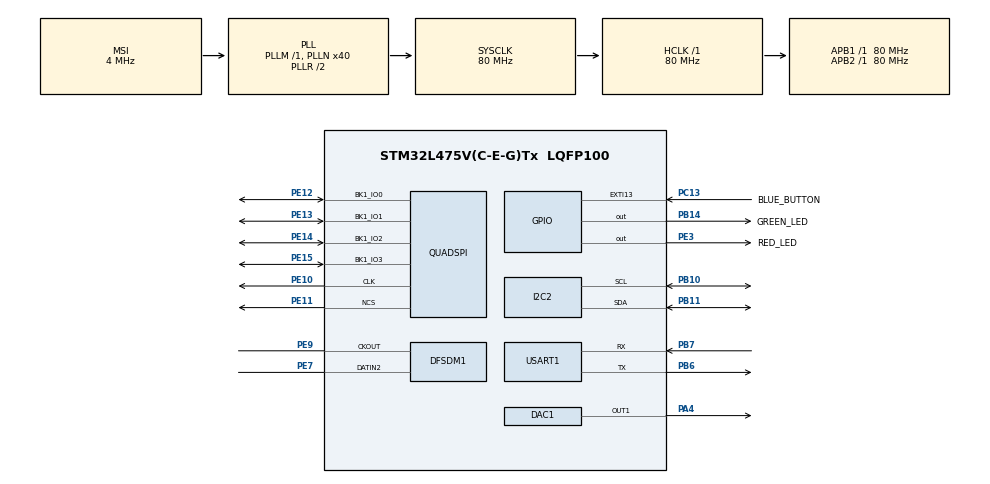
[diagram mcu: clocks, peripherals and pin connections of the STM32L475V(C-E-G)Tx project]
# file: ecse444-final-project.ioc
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Mcu.Family=STM32L4
Dma.DFSDM1_FLT0.1.Priority=DMA_PRIORITY_LOW
VP_SYS_VS_tim6.Mode=TIM6
RCC.CortexFreq_Value=80000000
PB10.Mode=I2C
NVIC.TIM6_DAC_IRQn=true\:0\:0\:false\:false\:true\:false\:true
PB14.GPIO_Label=GREEN_LED
I2C2.Timing=0x10909CEC
Dma.DFSDM1_FLT0.1.Direction=DMA_PERIPH_TO_MEMORY
PC13.GPIO_Label=BLUE_BUTTON
PB11.Signal=I2C2_SDA
RCC.SYSCLKSource=RCC_SYSCLKSOURCE_PLLCLK
ProjectManager.StackSize=0x400
PB3\ (JTDO-TRACESWO).Signal=SYS_JTDO-SWO
NVIC.DMA1_Channel3_IRQn=true\:0\:0\:false\:false\:true\:false\:true
PE11.Mode=Single Bank
Dma.DAC_CH1.0.Instance=DMA1_Channel3
RCC.HCLKFreq_Value=80000000
RCC.APB2TimFreq_Value=80000000
PB6.Signal=USART1_TX
PB6.Mode=Asynchronous
Dma.DFSDM1_FLT0.1.MemInc=DMA_MINC_ENABLE
RCC.AHBFreq_Value=80000000
NVIC.EXTI15_10_IRQn=true\:0\:0\:false\:false\:true\:true\:true
RCC.HSE_VALUE=8000000
Dma.DFSDM1_FLT0.1.MemDataAlignment=DMA_MDATAALIGN_WORD
DFSDM1.FastMode_reg_FIL0=ENABLE
PE13.Signal=QUADSPI_BK1_IO1
PE9.Signal=S_CKOUTDFSDM1
NVIC.TIM2_IRQn=true\:0\:0\:false\:false\:true\:true\:true
Dma.DAC_CH1.0.PeriphDataAlignment=DMA_PDATAALIGN_BYTE
PB7.Signal=USART1_RX
PE13.Mode=Single Bank
DFSDM1.Fosr_FIL0=250
PE10.Signal=QUADSPI_CLK
Mcu.Package=LQFP100
TIM2.Prescaler=0
NVIC.TimeBase=TIM6_DAC_IRQn
NVIC.TimeBaseIP=TIM6
Dma.DAC_CH1.0.Priority=DMA_PRIORITY_LOW
TIM2.TIM_MasterOutputTrigger=TIM_TRGO_UPDATE
Dma.Request1=DFSDM1_FLT0
RCC.APB1TimFreq_Value=80000000
NVIC.DMA1_Channel4_IRQn=true\:0\:0\:false\:false\:true\:false\:true
PE7.Signal=S_DATAIN2DFSDM1
PA13\ (JTMS-SWDIO).Signal=SYS_JTMS-SWDIO
Dma.Request0=DAC_CH1
DFSDM1.SincOrder_FIL0=DFSDM_FILTER_SINC3_ORDER
RCC.PLLSAI1N=24
PE12.Mode=Single Bank
RCC.MSI_VALUE=4000000
Dma.DAC_CH1.0.Mode=DMA_NORMAL
Dma.DAC_CH1.0.MemDataAlignment=DMA_MDATAALIGN_WORD
PC13.Signal=GPXTI13
PE10.Mode=Single Bank
SH.S_DATAIN2DFSDM1.0=DFSDM1_DATIN2,PDM_SPI_input_from_ch2_and_internal_clock
Dma.DFSDM1_FLT0.1.PeriphInc=DMA_PINC_DISABLE
USART1.VirtualMode-Asynchronous=VM_ASYNC
Dma.DAC_CH1.0.Direction=DMA_MEMORY_TO_PERIPH
PB11.Mode=I2C
ProjectManager.TargetToolchain=STM32CubeIDE
SH.COMP_DAC11_group.0=DAC1_OUT1,DAC_OUT1
Dma.DFSDM1_FLT0.1.Mode=DMA_NORMAL
Dma.DAC_CH1.0.MemInc=DMA_MINC_ENABLE
RCC.USBFreq_Value=48000000
PE11.Signal=QUADSPI_NCS
RCC.LSE_VALUE=32768
PB10.Signal=I2C2_SCL
PB14.Signal=GPIO_Output
board=B-L475E-IOT01A1
RCC.VCOOutputFreq_Value=160000000
RCC.APB2Freq_Value=80000000
PE14.Signal=QUADSPI_BK1_IO2
PE15.Signal=QUADSPI_BK1_IO3
VP_TIM2_VS_ClockSourceINT.Mode=Internal
PE14.Mode=Single Bank
SH.S_CKOUTDFSDM1.0=DFSDM1_CKOUT,PDM_SPI_input_from_ch2_and_internal_clock
SH.S_CKOUTDFSDM1.1=DFSDM1_CKOUT,CKOUT
RCC.ADCFreq_Value=48000000
Dma.DFSDM1_FLT0.1.Instance=DMA1_Channel4
DAC1.DAC_Trigger-DAC_OUT1=DAC_TRIGGER_T2_TRGO
TIM2.Period=8500
Mcu.Name=STM32L475V(C-E-G)Tx
PE12.Signal=QUADSPI_BK1_IO0
Dma.DAC_CH1.0.PeriphInc=DMA_PINC_DISABLE
PA4.Signal=COMP_DAC11_group
RCC.SYSCLKFreq_VALUE=80000000
Dma.DFSDM1_FLT0.1.PeriphDataAlignment=DMA_PDATAALIGN_WORD
PB7.Mode=Asynchronous
ProjectManager.HeapSize=0x200
RCC.HSI_VALUE=16000000
NVIC.PriorityGroup=NVIC_PRIORITYGROUP_4
DFSDM1.DmaMode_reg_FIL0=ENABLE
RCC.PLLN=40
PE3.Signal=GPIO_Output
DFSDM1.Divider=34
PE3.GPIO_Label=RED_LED
DFSDM1.Filter_regChannel_FIL0=DFSDM_CHANNEL_2
RCC.APB1Freq_Value=80000000
PE15.Mode=Single Bank

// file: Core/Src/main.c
/* USER CODE BEGIN Header */
/**
 ******************************************************************************
 * @file           : main.c
 * @brief          : Main program body
 ******************************************************************************
 * @attention
 *
 * <h2><center>&copy; Copyright (c) 2020 STMicroelectronics.
 * All rights reserved.</center></h2>
 *
 * This software component is licensed by ST under Ultimate Liberty license
 * SLA0044, the "License"; You may not use this file except in compliance with
 * the License. You may obtain a copy of the License at:
 *                             www.st.com/SLA0044
 *
 ******************************************************************************
 */
/* USER CODE END Header */
#include "main.h"

/* USER CODE BEGIN Includes */
#include "arm_math.h"
#include <stdio.h>
#include <stdlib.h>
#include <limits.h>
#include <string.h>
#include "stm32l475e_iot01_qspi.h"
/* USER CODE END Includes */

DAC_HandleTypeDef hdac1;
DMA_HandleTypeDef hdma_dac_ch1;

DFSDM_Filter_HandleTypeDef hdfsdm1_filter0;
DFSDM_Channel_HandleTypeDef hdfsdm1_channel2;
DMA_HandleTypeDef hdma_dfsdm1_flt0;

I2C_HandleTypeDef hi2c2;

QSPI_HandleTypeDef hqspi;

TIM_HandleTypeDef htim2;

UART_HandleTypeDef huart1;

/* USER CODE BEGIN PV */
//Constants & Variables associated with tone generation-------
const int MAX_TONE_AMPLITUDE = 255;
const float OUTPUT_SAMPLE_RATE = 9400.0;
const float TAU = 6.2831853072;
const int TONE_FREQUENCIES[] = {524, 659, 784, 1047};
const int BLOCK_SIZE = 65536;
int REC_START;
const int NUM_TONES = 4;
const int TONE_LEN = 8192;
uint32_t currentTone[8192];

//Variables for sequencing tone------------------------------
const int MAX_TONE_SEQUENCE_LENGTH = 100;
int toneSequence[100];
int toneSequenceSize = 0;
int toneIndex = 0;

//Variables for processing tones------------------------------
arm_rfft_instance_q31 fftInstance;
uint32_t fftOutputBuffer[8192];
const int WINDOW_SIZE = 50;
const int MIN_FREQ = 150;
const int MAX_FREQ = 3000;

//Constants & Variables for High Scores
int HIGH_SCORE_START;
const int MAX_SCORES = 1000;
const int FORMAT_START = 0xA0FA0FEE;

//Flags for state --------------------------------------------
enum GAME_STATE {
	READY_TO_PLAY_TONE = 0,
	PLAYING_TONE,
	READY_TO_RECORD,
	RECORDING,
	START_GAME
};

enum GAME_STATE gameState = START_GAME;

//Other constants --------------------------------------------
const int UART_TIMEOUT_MS = 100;
const int UART_RETRIES = 3;

/* USER CODE END PV */

void SystemClock_Config(void);
static void MX_GPIO_Init(void);
static void MX_DMA_Init(void);
static void MX_TIM2_Init(void);
static void MX_I2C2_Init(void);
static void MX_USART1_UART_Init(void);
static void MX_DAC1_Init(void);
static void MX_QUADSPI_Init(void);
static void MX_DFSDM1_Init(void);
/* USER CODE BEGIN PFP */

/// Adds an additional tone to the sequence to be played and expected from user
void addToneToSequence();

/// Starts audio output of tone sequence
void playSequence();

/// Get tone from flash of specified frequency index to currentTone buffer
///
/// @param frequency_index Index of frequency to retrieve from QSPI flash memory
void loadToneFromFlash(int frequency_index);

/// Starts microphone recording DMA
void startRecording();

/// Determine frequency of specific note
///
/// @param noteIndex Index of the note that frequency should be analyzed of
/// @return Frequency of user tone
int analyzeNote(int noteIndex);

/// Checks that the user tone sequence is correct
///
/// @return 0 if answer false, any other uint8_t if true
uint8_t checkAnswer();

/// Prints score and restarts game loop
void lose();

/// Transmits all scores through UART
 void printScoreToUart();

 /// Transmits message to UART to be displayed on screen of connected device
 ///
 /// @param buffer Pointer to null-terminated string to be sent through UART
 void transmitToUart(char * buffer);

 // Receives message from UART
 //
 // @param buffer Pointer to memory to write to
 // @param size Number of bytes to read
 // @return Bytes read if successful, -1 otherwise
 int receiveFromUart(char * buffer, uint16_t size);

 /// Loads scores from Flash Memory
 ///
 /// @param scores Pointer to where to copy scores
 /// @return Integer representing number of scores stored in Flash
 int loadScoresFromMemory(int * scores);

 /// Stores score in Flash Memory
 ///
 /// @param initials Character buffer with 2 characters
 /// @param score Score to store in memory
 void storeScoreInMemory(char * initials, int score);

 /// Formats the Flash Memory for store
 /// Note: Should only use to reset system
 void formatScoreMemory();

 /// Clears all scores in Flash Memory
 void clearScoresInMemory();

 /* USER CODE END PFP */

int main(void)
{

  /* MCU Configuration--------------------------------------------------------*/

  /* Reset of all peripherals, Initializes the Flash interface and the Systick. */
  HAL_Init();

  /* Configure the system clock */
  SystemClock_Config();

  /* Initialize all configured peripherals */
  MX_GPIO_Init();
  MX_DMA_Init();
  MX_TIM2_Init();
  MX_I2C2_Init();
  MX_USART1_UART_Init();
  MX_DAC1_Init();
  MX_QUADSPI_Init();
  MX_DFSDM1_Init();
  /* USER CODE BEGIN 2 */
    HAL_UART_Init(&huart1);
	HAL_TIM_Base_Start(&htim2);
	BSP_QSPI_Init();
	HAL_GPIO_WritePin(RED_LED_GPIO_Port, RED_LED_Pin, GPIO_PIN_SET);

	//erase flash except high scores
	int numBlocks = (int)(NUM_TONES*sizeof(currentTone)/(float)BLOCK_SIZE + 1);
	for (int i = 0; i < numBlocks; i++) {
		if (BSP_QSPI_Erase_Block(BLOCK_SIZE*i) != QSPI_OK) {
			Error_Handler();
		}
	}

	REC_START = BLOCK_SIZE * (numBlocks + 1);
	HIGH_SCORE_START = REC_START + BLOCK_SIZE * (numBlocks + 1);

	//format high score memory if necessary
	int check_format = 0;
	if (BSP_QSPI_Read(&check_format, HIGH_SCORE_START, sizeof(check_format)) != QSPI_OK) {
		Error_Handler();
	}

	// if constant start byte not there, we know we must format
	if(check_format != FORMAT_START)
	{
		formatScoreMemory();
	}

	//program flash
	for (int i = NUM_TONES-1; i >= 0; i--) {
		//calculate a single tone
		float w = TAU * TONE_FREQUENCIES[i];
		for (int j = 0; j < TONE_LEN; j++) {
			float theta = w * j/OUTPUT_SAMPLE_RATE;
			float s = (1 + arm_sin_f32(theta)) / 2.0;

			currentTone[j] = (uint32_t) (0.9 * MAX_TONE_AMPLITUDE * s);
		}
		//write tone to flash
		if (BSP_QSPI_Write(currentTone, i * sizeof(currentTone), sizeof(currentTone)) != QSPI_OK) {
			Error_Handler();
		}
	}

  /* USER CODE END 2 */

  /* Infinite loop */
	while (1)
	{

	}
}

void SystemClock_Config(void)
{
  RCC_OscInitTypeDef RCC_OscInitStruct = {0};
  RCC_ClkInitTypeDef RCC_ClkInitStruct = {0};
  RCC_PeriphCLKInitTypeDef PeriphClkInit = {0};

  /** Initializes the RCC Oscillators according to the specified parameters
  * in the RCC_OscInitTypeDef structure.
  */
  RCC_OscInitStruct.OscillatorType = RCC_OSCILLATORTYPE_MSI;
  RCC_OscInitStruct.MSIState = RCC_MSI_ON;
  RCC_OscInitStruct.MSICalibrationValue = 0;
  RCC_OscInitStruct.MSIClockRange = RCC_MSIRANGE_6;
  RCC_OscInitStruct.PLL.PLLState = RCC_PLL_ON;
  RCC_OscInitStruct.PLL.PLLSource = RCC_PLLSOURCE_MSI;
  RCC_OscInitStruct.PLL.PLLM = 1;
  RCC_OscInitStruct.PLL.PLLN = 40;
  RCC_OscInitStruct.PLL.PLLP = RCC_PLLP_DIV7;
  RCC_OscInitStruct.PLL.PLLQ = RCC_PLLQ_DIV2;
  RCC_OscInitStruct.PLL.PLLR = RCC_PLLR_DIV2;
  if (HAL_RCC_OscConfig(&RCC_OscInitStruct) != HAL_OK)
  {
    Error_Handler();
  }
  /** Initializes the CPU, AHB and APB buses clocks
  */
  RCC_ClkInitStruct.ClockType = RCC_CLOCKTYPE_HCLK|RCC_CLOCKTYPE_SYSCLK
                              |RCC_CLOCKTYPE_PCLK1|RCC_CLOCKTYPE_PCLK2;
  RCC_ClkInitStruct.SYSCLKSource = RCC_SYSCLKSOURCE_PLLCLK;
  RCC_ClkInitStruct.AHBCLKDivider = RCC_SYSCLK_DIV1;
  RCC_ClkInitStruct.APB1CLKDivider = RCC_HCLK_DIV1;
  RCC_ClkInitStruct.APB2CLKDivider = RCC_HCLK_DIV1;

  if (HAL_RCC_ClockConfig(&RCC_ClkInitStruct, FLASH_LATENCY_4) != HAL_OK)
  {
    Error_Handler();
  }
  PeriphClkInit.PeriphClockSelection = RCC_PERIPHCLK_USART1|RCC_PERIPHCLK_I2C2
                              |RCC_PERIPHCLK_DFSDM1;
  PeriphClkInit.Usart1ClockSelection = RCC_USART1CLKSOURCE_PCLK2;
  PeriphClkInit.I2c2ClockSelection = RCC_I2C2CLKSOURCE_PCLK1;
  PeriphClkInit.Dfsdm1ClockSelection = RCC_DFSDM1CLKSOURCE_PCLK;
  if (HAL_RCCEx_PeriphCLKConfig(&PeriphClkInit) != HAL_OK)
  {
    Error_Handler();
  }
  /** Configure the main internal regulator output voltage
  */
  if (HAL_PWREx_ControlVoltageScaling(PWR_REGULATOR_VOLTAGE_SCALE1) != HAL_OK)
  {
    Error_Handler();
  }
}

static void MX_DAC1_Init(void)
{

  DAC_ChannelConfTypeDef sConfig = {0};

  /** DAC Initialization
  */
  hdac1.Instance = DAC1;
  if (HAL_DAC_Init(&hdac1) != HAL_OK)
  {
    Error_Handler();
  }
  /** DAC channel OUT1 config
  */
  sConfig.DAC_SampleAndHold = DAC_SAMPLEANDHOLD_DISABLE;
  sConfig.DAC_Trigger = DAC_TRIGGER_T2_TRGO;
  sConfig.DAC_OutputBuffer = DAC_OUTPUTBUFFER_ENABLE;
  sConfig.DAC_ConnectOnChipPeripheral = DAC_CHIPCONNECT_DISABLE;
  sConfig.DAC_UserTrimming = DAC_TRIMMING_FACTORY;
  if (HAL_DAC_ConfigChannel(&hdac1, &sConfig, DAC_CHANNEL_1) != HAL_OK)
  {
    Error_Handler();
  }

}

static void MX_DFSDM1_Init(void)
{

  hdfsdm1_filter0.Instance = DFSDM1_Filter0;
  hdfsdm1_filter0.Init.RegularParam.Trigger = DFSDM_FILTER_SW_TRIGGER;
  hdfsdm1_filter0.Init.RegularParam.FastMode = ENABLE;
  hdfsdm1_filter0.Init.RegularParam.DmaMode = ENABLE;
  hdfsdm1_filter0.Init.FilterParam.SincOrder = DFSDM_FILTER_SINC3_ORDER;
  hdfsdm1_filter0.Init.FilterParam.Oversampling = 250;
  hdfsdm1_filter0.Init.FilterParam.IntOversampling = 1;
  if (HAL_DFSDM_FilterInit(&hdfsdm1_filter0) != HAL_OK)
  {
    Error_Handler();
  }
  hdfsdm1_channel2.Instance = DFSDM1_Channel2;
  hdfsdm1_channel2.Init.OutputClock.Activation = ENABLE;
  hdfsdm1_channel2.Init.OutputClock.Selection = DFSDM_CHANNEL_OUTPUT_CLOCK_SYSTEM;
  hdfsdm1_channel2.Init.OutputClock.Divider = 34;
  hdfsdm1_channel2.Init.Input.Multiplexer = DFSDM_CHANNEL_EXTERNAL_INPUTS;
  hdfsdm1_channel2.Init.Input.DataPacking = DFSDM_CHANNEL_STANDARD_MODE;
  hdfsdm1_channel2.Init.Input.Pins = DFSDM_CHANNEL_SAME_CHANNEL_PINS;
  hdfsdm1_channel2.Init.SerialInterface.Type = DFSDM_CHANNEL_SPI_RISING;
  hdfsdm1_channel2.Init.SerialInterface.SpiClock = DFSDM_CHANNEL_SPI_CLOCK_INTERNAL;
  hdfsdm1_channel2.Init.Awd.FilterOrder = DFSDM_CHANNEL_FASTSINC_ORDER;
  hdfsdm1_channel2.Init.Awd.Oversampling = 1;
  hdfsdm1_channel2.Init.Offset = 0;
  hdfsdm1_channel2.Init.RightBitShift = 0x00;
  if (HAL_DFSDM_ChannelInit(&hdfsdm1_channel2) != HAL_OK)
  {
    Error_Handler();
  }
  if (HAL_DFSDM_FilterConfigRegChannel(&hdfsdm1_filter0, DFSDM_CHANNEL_2, DFSDM_CONTINUOUS_CONV_ON) != HAL_OK)
  {
    Error_Handler();
  }

}

static void MX_I2C2_Init(void)
{

  hi2c2.Instance = I2C2;
  hi2c2.Init.Timing = 0x10909CEC;
  hi2c2.Init.OwnAddress1 = 0;
  hi2c2.Init.AddressingMode = I2C_ADDRESSINGMODE_7BIT;
  hi2c2.Init.DualAddressMode = I2C_DUALADDRESS_DISABLE;
  hi2c2.Init.OwnAddress2 = 0;
  hi2c2.Init.OwnAddress2Masks = I2C_OA2_NOMASK;
  hi2c2.Init.GeneralCallMode = I2C_GENERALCALL_DISABLE;
  hi2c2.Init.NoStretchMode = I2C_NOSTRETCH_DISABLE;
  if (HAL_I2C_Init(&hi2c2) != HAL_OK)
  {
    Error_Handler();
  }
  /** Configure Analogue filter
  */
  if (HAL_I2CEx_ConfigAnalogFilter(&hi2c2, I2C_ANALOGFILTER_ENABLE) != HAL_OK)
  {
    Error_Handler();
  }
  /** Configure Digital filter
  */
  if (HAL_I2CEx_ConfigDigitalFilter(&hi2c2, 0) != HAL_OK)
  {
    Error_Handler();
  }

}

static void MX_QUADSPI_Init(void)
{

  /* QUADSPI parameter configuration*/
  hqspi.Instance = QUADSPI;
  hqspi.Init.ClockPrescaler = 255;
  hqspi.Init.FifoThreshold = 1;
  hqspi.Init.SampleShifting = QSPI_SAMPLE_SHIFTING_NONE;
  hqspi.Init.FlashSize = 1;
  hqspi.Init.ChipSelectHighTime = QSPI_CS_HIGH_TIME_1_CYCLE;
  hqspi.Init.ClockMode = QSPI_CLOCK_MODE_0;
  if (HAL_QSPI_Init(&hqspi) != HAL_OK)
  {
    Error_Handler();
  }

}

static void MX_TIM2_Init(void)
{

  TIM_ClockConfigTypeDef sClockSourceConfig = {0};
  TIM_MasterConfigTypeDef sMasterConfig = {0};

  htim2.Instance = TIM2;
  htim2.Init.Prescaler = 0;
  htim2.Init.CounterMode = TIM_COUNTERMODE_UP;
  htim2.Init.Period = 8500;
  htim2.Init.ClockDivision = TIM_CLOCKDIVISION_DIV1;
  htim2.Init.AutoReloadPreload = TIM_AUTORELOAD_PRELOAD_DISABLE;
  if (HAL_TIM_Base_Init(&htim2) != HAL_OK)
  {
    Error_Handler();
  }
  sClockSourceConfig.ClockSource = TIM_CLOCKSOURCE_INTERNAL;
  if (HAL_TIM_ConfigClockSource(&htim2, &sClockSourceConfig) != HAL_OK)
  {
    Error_Handler();
  }
  sMasterConfig.MasterOutputTrigger = TIM_TRGO_UPDATE;
  sMasterConfig.MasterSlaveMode = TIM_MASTERSLAVEMODE_DISABLE;
  if (HAL_TIMEx_MasterConfigSynchronization(&htim2, &sMasterConfig) != HAL_OK)
  {
    Error_Handler();
  }

}

static void MX_USART1_UART_Init(void)
{

  huart1.Instance = USART1;
  huart1.Init.BaudRate = 9600;
  huart1.Init.WordLength = UART_WORDLENGTH_8B;
  huart1.Init.StopBits = UART_STOPBITS_1;
  huart1.Init.Parity = UART_PARITY_NONE;
  huart1.Init.Mode = UART_MODE_TX_RX;
  huart1.Init.HwFlowCtl = UART_HWCONTROL_NONE;
  huart1.Init.OverSampling = UART_OVERSAMPLING_16;
  huart1.Init.OneBitSampling = UART_ONE_BIT_SAMPLE_DISABLE;
  huart1.AdvancedInit.AdvFeatureInit = UART_ADVFEATURE_NO_INIT;
  if (HAL_UART_Init(&huart1) != HAL_OK)
  {
    Error_Handler();
  }

}

static void MX_DMA_Init(void)
{

  /* DMA controller clock enable */
  __HAL_RCC_DMA1_CLK_ENABLE();

  /* DMA interrupt init */
  /* DMA1_Channel3_IRQn interrupt configuration */
  HAL_NVIC_SetPriority(DMA1_Channel3_IRQn, 0, 0);
  HAL_NVIC_EnableIRQ(DMA1_Channel3_IRQn);
  /* DMA1_Channel4_IRQn interrupt configuration */
  HAL_NVIC_SetPriority(DMA1_Channel4_IRQn, 0, 0);
  HAL_NVIC_EnableIRQ(DMA1_Channel4_IRQn);

}

static void MX_GPIO_Init(void)
{
  GPIO_InitTypeDef GPIO_InitStruct = {0};

  /* GPIO Ports Clock Enable */
  __HAL_RCC_GPIOE_CLK_ENABLE();
  __HAL_RCC_GPIOC_CLK_ENABLE();
  __HAL_RCC_GPIOA_CLK_ENABLE();
  __HAL_RCC_GPIOB_CLK_ENABLE();

  /*Configure GPIO pin Output Level */
  HAL_GPIO_WritePin(RED_LED_GPIO_Port, RED_LED_Pin, GPIO_PIN_RESET);

  /*Configure GPIO pin Output Level */
  HAL_GPIO_WritePin(GREEN_LED_GPIO_Port, GREEN_LED_Pin, GPIO_PIN_RESET);

  /*Configure GPIO pin : RED_LED_Pin */
  GPIO_InitStruct.Pin = RED_LED_Pin;
  GPIO_InitStruct.Mode = GPIO_MODE_OUTPUT_PP;
  GPIO_InitStruct.Pull = GPIO_NOPULL;
  GPIO_InitStruct.Speed = GPIO_SPEED_FREQ_LOW;
  HAL_GPIO_Init(RED_LED_GPIO_Port, &GPIO_InitStruct);

  /*Configure GPIO pin : BLUE_BUTTON_Pin */
  GPIO_InitStruct.Pin = BLUE_BUTTON_Pin;
  GPIO_InitStruct.Mode = GPIO_MODE_IT_RISING;
  GPIO_InitStruct.Pull = GPIO_NOPULL;
  HAL_GPIO_Init(BLUE_BUTTON_GPIO_Port, &GPIO_InitStruct);

  /*Configure GPIO pin : GREEN_LED_Pin */
  GPIO_InitStruct.Pin = GREEN_LED_Pin;
  GPIO_InitStruct.Mode = GPIO_MODE_OUTPUT_PP;
  GPIO_InitStruct.Pull = GPIO_NOPULL;
  GPIO_InitStruct.Speed = GPIO_SPEED_FREQ_LOW;
  HAL_GPIO_Init(GREEN_LED_GPIO_Port, &GPIO_InitStruct);

  /* EXTI interrupt init*/
  HAL_NVIC_SetPriority(EXTI15_10_IRQn, 0, 0);
  HAL_NVIC_EnableIRQ(EXTI15_10_IRQn);

}

/* USER CODE BEGIN 4 */
void HAL_GPIO_EXTI_Callback(uint16_t GPIO_Pin) {
	if (GPIO_Pin != BLUE_BUTTON_Pin) {
		return;
	}
	if (gameState == READY_TO_PLAY_TONE || gameState == START_GAME) {
		if (gameState == START_GAME) {
			HAL_GPIO_WritePin(RED_LED_GPIO_Port, RED_LED_Pin, GPIO_PIN_SET);
			transmitToUart("   ______________ Starting New Game! ______________\n");
			transmitToUart("\n");
		}
		addToneToSequence();
		playSequence();
	} else if (gameState == READY_TO_RECORD) {
		startRecording();
	}
}

void addToneToSequence(void) {
	//If we exceed buffer size, pattern resets anew -- unlikely to matter
	if (toneSequenceSize == MAX_TONE_SEQUENCE_LENGTH) {
		toneSequenceSize = 0;
	}
	toneSequence[toneSequenceSize] = rand() % NUM_TONES;
	toneSequenceSize++;
}

void loadToneFromFlash(int frequency) {
	if (BSP_QSPI_Read(currentTone, sizeof(currentTone) * frequency, sizeof(currentTone)) != QSPI_OK) {
		Error_Handler();
	}
}

void printSequence() {

	transmitToUart("   Expected Sequence - ");
	for (int i = 0; i < toneSequenceSize; i++) {
		char buf[20];
		memset(buf, 0, sizeof(buf));
		if (i != toneSequenceSize - 1) {
			sprintf(buf, "%d, ", TONE_FREQUENCIES[toneSequence[i]]);
		} else {
			sprintf(buf, "%d\n", TONE_FREQUENCIES[toneSequence[i]]);
		}

		transmitToUart(buf);
	}

}

/*
 * non-blocking function that plays the sequence to the user
 */
void playSequence() {
	gameState = PLAYING_TONE;
	int numBlocks = (int)(toneSequenceSize*sizeof(currentTone)/(float)BLOCK_SIZE  + 1);

	// Erase all user recordings in flash
	for (int i = 0; i < numBlocks; i++) {
		if (BSP_QSPI_Erase_Block(REC_START + BLOCK_SIZE*i) != QSPI_OK) {
			Error_Handler();
		}
	}

	// Get tons from flash and start DMA
	toneIndex = 0;
	loadToneFromFlash(toneSequence[toneIndex]);
	HAL_DAC_Stop_DMA(&hdac1, DAC_CHANNEL_1);
	HAL_DAC_Start_DMA(&hdac1, DAC_CHANNEL_1, currentTone, TONE_LEN, DAC_ALIGN_8B_R);

	//Turn on LED to start
	HAL_GPIO_WritePin(GREEN_LED_GPIO_Port, GREEN_LED_Pin, GPIO_PIN_SET);
}

//DAC callback
void HAL_DAC_ConvCpltCallbackCh1(DAC_HandleTypeDef *hdac) {
	//toggles LED to help time
	HAL_GPIO_TogglePin(GREEN_LED_GPIO_Port, GREEN_LED_Pin);
	HAL_DAC_Stop_DMA(&hdac1, DAC_CHANNEL_1);

	toneIndex++;
	if (toneIndex >= toneSequenceSize) {
		//Turn off LED when done playing
		HAL_GPIO_WritePin(GREEN_LED_GPIO_Port, GREEN_LED_Pin, GPIO_PIN_RESET);
		gameState = READY_TO_RECORD;
	} else {
		loadToneFromFlash(toneSequence[toneIndex]);
		HAL_DAC_Start_DMA(&hdac1, DAC_CHANNEL_1, currentTone, TONE_LEN, DAC_ALIGN_8B_R);
	}
}

void startRecording() {
	toneIndex = 0;
	gameState = RECORDING;
	HAL_DFSDM_FilterRegularStart_DMA(&hdfsdm1_filter0, currentTone, TONE_LEN);

	//Turn on LED to start
	HAL_GPIO_WritePin(GREEN_LED_GPIO_Port, GREEN_LED_Pin, GPIO_PIN_SET);
}

void lose() {
	HAL_GPIO_WritePin(RED_LED_GPIO_Port, RED_LED_Pin, GPIO_PIN_RESET);
	transmitToUart("   _________________ GAME OVER! ___________________ \n");
	transmitToUart("\n");
	transmitToUart("\n");
	char buf[50];
	memset(buf, 0, sizeof(buf));
	sprintf(buf, "   __Your Score is %d Points\n", toneSequenceSize);
	transmitToUart(buf);
	transmitToUart("\n");
	transmitToUart("   ___Enter Initials:\n");

	//Ensure all characters transmitted
	char initials[2];
	receiveFromUart(initials, sizeof(initials));

	storeScoreInMemory(initials, toneSequenceSize);
	printScoreToUart();

	gameState = START_GAME;
	toneSequenceSize = 0;
	toneIndex = 0;
}

// callback for microphone
void HAL_DFSDM_FilterRegConvCpltCallback (DFSDM_Filter_HandleTypeDef * hdfsdm_filter) {
	// check to make sure correct callback
	if(hdfsdm_filter == &hdfsdm1_filter0) {
		HAL_DFSDM_FilterRegularStop_DMA(hdfsdm_filter);

		// scale 24 bits by removing 8 least sig bits
		for(size_t i = 0; i < TONE_LEN; i++) {
			currentTone[i] = (currentTone[i] >> 8);
		}

		//write microphone to flash
		if(BSP_QSPI_Write(currentTone, sizeof(currentTone) * toneIndex + REC_START, sizeof(currentTone)) != QSPI_OK) {
			Error_Handler();
		}

		//check if end of user recording
		if(++toneIndex < toneSequenceSize) {
			HAL_GPIO_TogglePin(GREEN_LED_GPIO_Port, GREEN_LED_Pin);
			HAL_DFSDM_FilterRegularStart_DMA(&hdfsdm1_filter0, currentTone, TONE_LEN);
		} else {
			if (checkAnswer()) {
				gameState = READY_TO_PLAY_TONE;
			} else {
				lose();
			}
			HAL_GPIO_WritePin(GREEN_LED_GPIO_Port, GREEN_LED_Pin, GPIO_PIN_RESET);
		}
	}
}

int analyzeNote(int noteIndex) {
	//Load note from flash
	if (BSP_QSPI_Read(currentTone, REC_START + noteIndex*sizeof(currentTone), sizeof(currentTone)) != QSPI_OK) {
		Error_Handler();
	}

	//Initialize FFT instance
	if (arm_rfft_init_q31(&fftInstance, TONE_LEN/2, 0, 1) != ARM_MATH_SUCCESS) {
		Error_Handler();
	}

	//Call FFT (assumes currentTone buffer already formatted in q31 format)
	arm_rfft_q31(&fftInstance, &currentTone[TONE_LEN/4], fftOutputBuffer);

	//Find magnitude values
	arm_cmplx_mag_q31(fftOutputBuffer, currentTone, TONE_LEN/2);

	const float DELTA_F = OUTPUT_SAMPLE_RATE / (TONE_LEN / 2);
	int maxCenterFreq = MIN_FREQ;
	int maxWindowSum = 0;
	unsigned long currentSum = 0;
	for (int i = 0; i < TONE_LEN / 2; i++) {
		if (i - WINDOW_SIZE/2 >= 0) {
			currentSum -= currentTone[i - WINDOW_SIZE/2];
		}
		if (i + WINDOW_SIZE/2 < TONE_LEN / 2) {
			currentSum += currentTone[i + WINDOW_SIZE / 2];
		}
		if (currentSum > maxWindowSum && i*DELTA_F > MIN_FREQ && i*DELTA_F < MAX_FREQ) {
			maxWindowSum = currentSum;
			maxCenterFreq = (int)(i * DELTA_F) ;
		}

	}
	return maxCenterFreq;
}

uint8_t checkAnswer() {
       int maxValues[NUM_TONES];
       int minValues[NUM_TONES];
       uint8_t includedTones = 0x0;
       for (int i = 0; i < NUM_TONES; i++) {
		   maxValues[i] = 0;
		   minValues[i] = INT_MAX;
       }

       printSequence();

       transmitToUart("   User Inputed Frequencies - ");

       for (int i = 0; i < toneSequenceSize; i++) {
		   int tone = toneSequence[i];
		   int freq = analyzeNote(i);

		   char buf[20];
		   memset(buf, 0, sizeof(buf));
		   if (i != toneSequenceSize - 1) {
			   sprintf(buf, "%d, ", freq);
		   } else {
			   sprintf(buf, "%d\n", freq);
		   }
		   transmitToUart(buf);

		   if (freq > maxValues[tone]) {
			   maxValues[tone] = freq;
		   }
		   if (freq < minValues[tone]) {
			   minValues[tone] = freq;
		   }

		   // create bit field for whether tone used
		   includedTones |= 1 << tone;
       }
       transmitToUart("\n");
       //Checks tone ranges are reasonable
       for (int i = 0; i < NUM_TONES; i++) {
		   //Don't need to compare tones not involved in sequence
		   if (includedTones & (1 << i))
		   {
			   for (int j = i + 1; j < NUM_TONES; j++) {
				   if ((includedTones & (1 << j)) && maxValues[i] > minValues[j]) {
					   return 0; // failure :(
				   }
			   }
		   }
       }
       return 1; // success :)
}

void printScoreToUart() {
 	const int BUFFER_SIZE = 100;
 	char buffer[BUFFER_SIZE];
 	memset(buffer, 0, BUFFER_SIZE);

 	int scores[MAX_SCORES];
 	int num_scores = loadScoresFromMemory(scores);

 	int chars_written = sprintf(buffer, "   ________________ LEADERBOARD __________________ \n");
 	for(int i = 0; i < num_scores; i++) {
 		// Should flush buffer if mostly full
 		if(chars_written >= BUFFER_SIZE - BUFFER_SIZE / 5) {
 			chars_written = 0;
 			transmitToUart(buffer);
 		}
 		int raw_score = scores[i] & 0xFFFF; // Last 16 bits are actual score
 		char initials[3];
 		initials[0] = (scores[i] >> 3*8) & 0xFF;
 		initials[1] = (scores[i] >> 2*8) & 0xFF;
 		initials[2] = '\0';
 		chars_written += sprintf(buffer + chars_written, "%d. %s - %d\n", i + 1, initials, raw_score);
 	}

 	if(chars_written > 0) {
 		transmitToUart(buffer);
 	}
 	transmitToUart("\n");
 	transmitToUart("\n");
 	transmitToUart("\n");
 }

int loadScoresFromMemory(int * scores_to_load) {
	int num_scores = 0;
	// Read number of scores from memory
	if (BSP_QSPI_Read(&num_scores, HIGH_SCORE_START + sizeof(FORMAT_START), sizeof(num_scores)) != QSPI_OK) {
		Error_Handler();
	}

	if(num_scores > 0) {
		if (BSP_QSPI_Read(scores_to_load, HIGH_SCORE_START + sizeof(FORMAT_START) + sizeof(num_scores), num_scores*sizeof(int)) != QSPI_OK) {
			Error_Handler();
		}
	}
	return num_scores;
 }

 void storeScoreInMemory(char * initials, int score) {
	int scores[MAX_SCORES];
	int num_scores = loadScoresFromMemory(scores);

	// Must clear before rewrite
	clearScoresInMemory();

	// Allocate space for number of scores, previous scores, and new score to store
	int new_scores[MAX_SCORES + 3];
	new_scores[0] = FORMAT_START;
	new_scores[1] = num_scores + 1;

	score |= initials[0] << 3*8; // Add initials to score
	score |= initials[1] << 2*8;

	int new_score_added = 0;

	// Add element sorted
	for(int i = 0; i < num_scores; i++) {
		if(new_score_added == 0 && (score & 0xFFFF) >= (scores[i] & 0xFFFF))
		{
			new_scores[i+2] = score;
			new_score_added = 1;
			i--;
		}
		else if(new_score_added == 1)
		{
			new_scores[i+3] = scores[i];
		}
		else
		{
			new_scores[i+2] = scores[i];
		}
	}

	if(new_score_added == 0) {
		new_scores[num_scores + 2] = score;
	}

	// Write Scores to Memory
	if (BSP_QSPI_Write(new_scores, HIGH_SCORE_START, (2 + num_scores + 1)*sizeof(int)) != QSPI_OK) {
		Error_Handler();
	}
 }

 /// Clears all scores in Flash Memory
 void clearScoresInMemory() {
	if (BSP_QSPI_Erase_Block(HIGH_SCORE_START) != QSPI_OK) {
		Error_Handler();
	}
 }

 void formatScoreMemory()  {
	clearScoresInMemory();

	// Must set initial number of scores to 0 (since clearing writes all 1s)
	int num_score = 0;
	if (BSP_QSPI_Write(&FORMAT_START, HIGH_SCORE_START, sizeof(int)) != QSPI_OK ||
		BSP_QSPI_Write(&num_score, HIGH_SCORE_START + sizeof(int), sizeof(int)) != QSPI_OK) {
			Error_Handler();
	}
 }

void transmitToUart(char * buffer) {
	for(int i = 0; i < UART_RETRIES; i++) {
		if(HAL_OK == HAL_UART_Transmit(&huart1, buffer, strlen(buffer) + 1, UART_TIMEOUT_MS)) {
			break;
		}
	}
}

int receiveFromUart(char * buffer, uint16_t size) {
	for(int i = 0; i < UART_RETRIES; i++) {
		while(1) {

			int hal_status = HAL_UART_Receive(&huart1, buffer, size, UART_TIMEOUT_MS);
			if (hal_status == HAL_OK) {
				return size;
			} else if (hal_status == HAL_TIMEOUT) {
				// Do nothing, wait for input
			} else {
				break; // Reset for another retry
			}
		}
	}
	return -1;
}
/* USER CODE END 4 */

void HAL_TIM_PeriodElapsedCallback(TIM_HandleTypeDef *htim)
{
  if (htim->Instance == TIM6) {
    HAL_IncTick();
  }
}

void Error_Handler(void)
{
}

/************************ (C) COPYRIGHT STMicroelectronics *****END OF FILE****/
